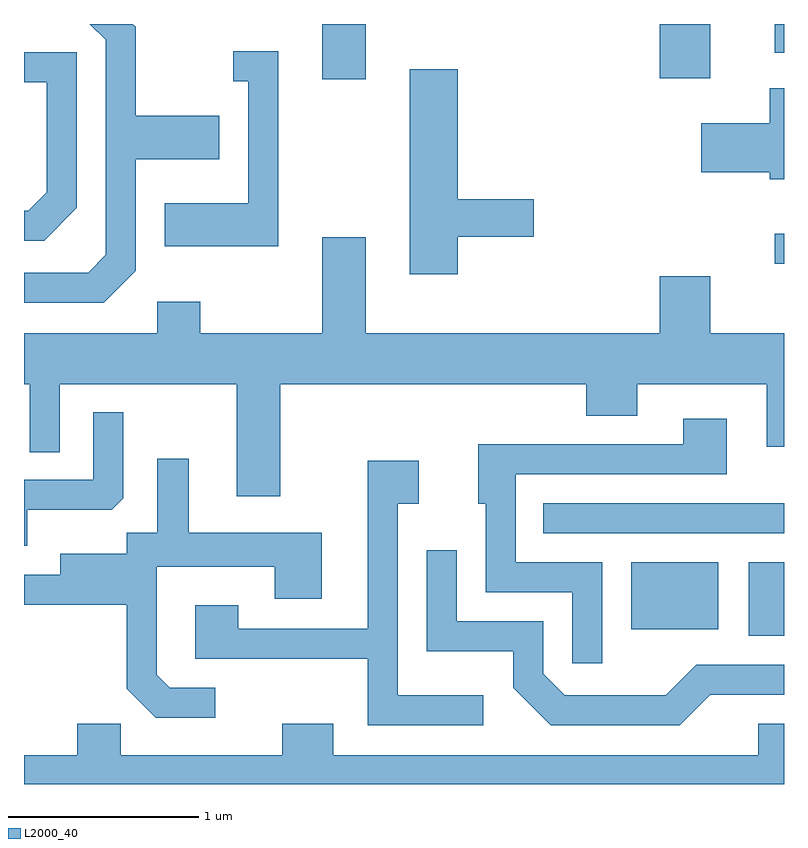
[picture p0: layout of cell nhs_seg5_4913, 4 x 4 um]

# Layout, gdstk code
import gdstk
lib = gdstk.Library(unit=1e-6, precision=1e-09)
def R(c, l, rs):  # rectangles x0, y0, x1, y1
    for r in rs: c.add(gdstk.rectangle(r[:2], r[2:], *l))
def P(c, l, *ps):  # polygons
    for p in ps: c.add(gdstk.Polygon(p, *l))
L2000_40 = (2000, 40)

nhs_seg5_4913 = lib.new_cell('nhs_seg5_4913')
R(nhs_seg5_4913, L2000_40, [(335.426,1408.851,335.611,1409.239), (334.806,1408.886,335.264,1409.239), (334.343,1409.391,335.611,1409.549), (335.563,1410.811,335.611,1410.969), (333.181,1411.781,333.409,1412.072), (334.956,1411.786,335.224,1412.072), (335.563,1411.921,335.611,1412.072)])
P(nhs_seg5_4913, L2000_40, [(332.199,1410.774),(332.199,1411.361),(332.639,1411.361),(332.639,1411.589),(332.199,1411.589),(332.199,1412.057),(332.184,1412.072),(331.958,1412.072),(332.041,1411.989),(332.041,1410.857),(331.949,1410.764),(331.611,1410.764),(331.611,1410.606),(332.032,1410.606)],
  [(332.949,1411.929),(332.713,1411.929),(332.713,1411.771),(332.791,1411.771),(332.791,1411.129),(332.351,1411.129),(332.351,1410.901),(332.949,1410.901)],
  [(331.889,1411.104),(331.889,1411.924),(331.611,1411.924),(331.611,1411.766),(331.731,1411.766),(331.731,1411.187),(331.634,1411.089),(331.611,1411.089),(331.611,1410.931),(331.717,1410.931)],
  [(333.894,1410.951),(334.294,1410.951),(334.294,1411.149),(333.894,1411.149),(333.894,1411.834),(333.641,1411.834),(333.641,1410.756),(333.894,1410.756)],
  [(335.611,1411.734),(335.536,1411.734),(335.536,1411.549),(335.176,1411.549),(335.176,1411.291),(335.536,1411.291),(335.536,1411.256),(335.611,1411.256)],
  [(332.959,1410.176),(334.571,1410.176),(334.571,1410.011),(334.839,1410.011),(334.839,1410.176),(335.521,1410.176),(335.521,1409.846),(335.611,1409.846),(335.611,1410.444),(335.224,1410.444),(335.224,1410.744),(334.956,1410.744),(334.956,1410.444),(333.409,1410.444),(333.409,1410.949),(333.181,1410.949),(333.181,1410.444),(332.539,1410.444),(332.539,1410.609),(332.311,1410.609),(332.311,1410.444),(331.611,1410.444),(331.611,1410.176),(331.641,1410.176),(331.641,1409.818),(331.799,1409.818),(331.799,1410.176),(332.731,1410.176),(332.731,1409.586),(332.959,1409.586)],
  [(331.629,1409.516),(332.074,1409.516),(332.134,1409.577),(332.134,1410.028),(331.976,1410.028),(331.976,1409.674),(331.611,1409.674),(331.611,1409.326),(331.629,1409.326)],
  [(334.654,1409.239),(334.199,1409.239),(334.199,1409.701),(335.309,1409.701),(335.309,1409.994),(335.081,1409.994),(335.081,1409.859),(334.001,1409.859),(334.001,1409.546),(334.041,1409.546),(334.041,1409.081),(334.496,1409.081),(334.496,1408.708),(334.654,1408.708)],
  [(332.618,1408.579),(332.377,1408.579),(332.309,1408.647),(332.309,1409.216),(332.931,1409.216),(332.931,1409.046),(333.179,1409.046),(333.179,1409.394),(332.479,1409.394),(332.479,1409.783),(332.311,1409.783),(332.311,1409.394),(332.151,1409.394),(332.151,1409.284),(331.801,1409.284),(331.801,1409.174),(331.611,1409.174),(331.611,1409.016),(332.151,1409.016),(332.151,1408.574),(332.304,1408.421),(332.618,1408.421)],
  [(334.028,1408.539),(333.579,1408.539),(333.579,1409.546),(333.689,1409.546),(333.689,1409.774),(333.421,1409.774),(333.421,1408.889),(332.739,1408.889),(332.739,1409.014),(332.511,1409.014),(332.511,1408.731),(333.421,1408.731),(333.421,1408.381),(334.028,1408.381)],
  [(335.222,1408.541),(335.611,1408.541),(335.611,1408.699),(335.149,1408.699),(334.989,1408.539),(334.457,1408.539),(334.344,1408.652),(334.344,1408.929),(333.889,1408.929),(333.889,1409.303),(333.731,1409.303),(333.731,1408.771),(334.186,1408.771),(334.186,1408.579),(334.384,1408.381),(335.062,1408.381)],
  [(335.611,1408.389),(335.476,1408.389),(335.476,1408.224),(333.239,1408.224),(333.239,1408.389),(332.971,1408.389),(332.971,1408.224),(332.119,1408.224),(332.119,1408.389),(331.891,1408.389),(331.891,1408.224),(331.611,1408.224),(331.611,1408.072),(335.611,1408.072)])

lib.write_gds('nhs_seg5_4913.gds')
